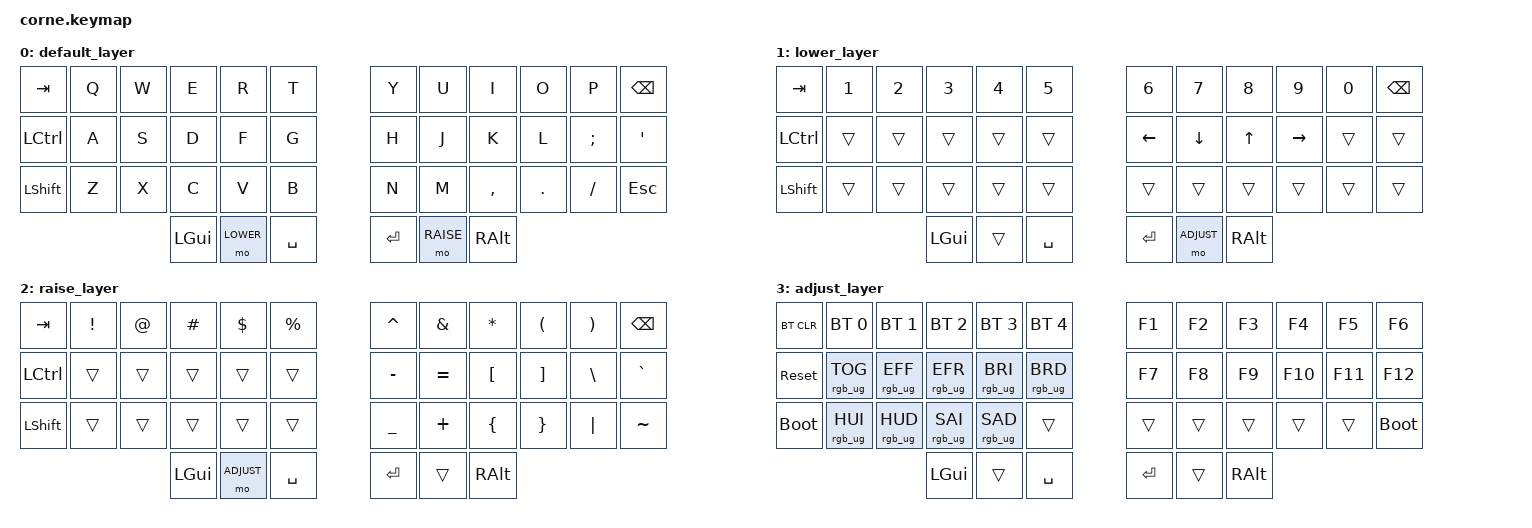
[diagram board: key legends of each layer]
// Copyright (c) 2024 The ZMK Contributors
// SPDX-License-Identifier: MIT

#include <behaviors.dtsi>
#include <dt-bindings/zmk/keys.h>
#include <dt-bindings/zmk/bt.h>
#include <dt-bindings/zmk/rgb.h>

#define DEFAULT 0
#define LOWER   1
#define RAISE   2
#define ADJUST  3

/ {
    conditional_layers {
        compatible = "zmk,conditional-layers";
        tri_layer {
            if-layers = <LOWER RAISE>;
            then-layer = <ADJUST>;
        };
    };

    keymap {
        compatible = "zmk,keymap";

        default_layer {
            bindings = <
//  ╭──────────┬──────────┬──────────┬──────────┬──────────┬──────────╮   ╭──────────┬──────────┬──────────┬──────────┬──────────┬──────────╮
    &kp TAB      &kp Q      &kp W      &kp E      &kp R      &kp T          &kp Y      &kp U      &kp I      &kp O      &kp P     &kp BSPC
//  ├──────────┼──────────┼──────────┼──────────┼──────────┼──────────┤   ├──────────┼──────────┼──────────┼──────────┼──────────┼──────────┤
    &kp LCTRL    &kp A      &kp S      &kp D      &kp F      &kp G          &kp H      &kp J      &kp K      &kp L     &kp SEMI   &kp SQT
//  ├──────────┼──────────┼──────────┼──────────┼──────────┼──────────┤   ├──────────┼──────────┼──────────┼──────────┼──────────┼──────────┤
    &kp LSHFT    &kp Z      &kp X      &kp C      &kp V      &kp B          &kp N      &kp M    &kp COMMA   &kp DOT    &kp FSLH   &kp ESC
//  ╰──────────┴──────────┴──────────┼──────────┼──────────┼──────────┤   ├──────────┼──────────┼──────────┼──────────┴──────────┴──────────╯
                                       &kp LGUI   &mo LOWER  &kp SPACE      &kp RET    &mo RAISE  &kp RALT
//                                   ╰──────────┴──────────┴──────────╯   ╰──────────┴──────────┴──────────╯
            >;
        };

        lower_layer {
            bindings = <
//  ╭──────────┬──────────┬──────────┬──────────┬──────────┬──────────╮   ╭──────────┬──────────┬──────────┬──────────┬──────────┬──────────╮
    &kp TAB     &kp N1     &kp N2     &kp N3     &kp N4     &kp N5         &kp N6     &kp N7     &kp N8     &kp N9     &kp N0    &kp BSPC
//  ├──────────┼──────────┼──────────┼──────────┼──────────┼──────────┤   ├──────────┼──────────┼──────────┼──────────┼──────────┼──────────┤
    &kp LCTRL   &trans     &trans     &trans     &trans     &trans         &kp LEFT   &kp DOWN   &kp UP    &kp RIGHT   &trans     &trans
//  ├──────────┼──────────┼──────────┼──────────┼──────────┼──────────┤   ├──────────┼──────────┼──────────┼──────────┼──────────┼──────────┤
    &kp LSHFT   &trans     &trans     &trans     &trans     &trans         &trans     &trans     &trans     &trans     &trans     &trans
//  ╰──────────┴──────────┴──────────┼──────────┼──────────┼──────────┤   ├──────────┼──────────┼──────────┼──────────┴──────────┴──────────╯
                                      &kp LGUI   &trans    &kp SPACE       &kp RET    &mo ADJUST &kp RALT
//                                   ╰──────────┴──────────┴──────────╯   ╰──────────┴──────────┴──────────╯
            >;
        };

        raise_layer {
            bindings = <
//  ╭──────────┬──────────┬──────────┬──────────┬──────────┬──────────╮   ╭──────────┬──────────┬──────────┬──────────┬──────────┬──────────╮
    &kp  TAB    &kp EXCL   &kp AT     &kp HASH   &kp DLLR   &kp PRCNT      &kp CARET  &kp AMPS  &kp ASTRK  &kp LPAR   &kp RPAR   &kp BSPC
//  ├──────────┼──────────┼──────────┼──────────┼──────────┼──────────┤   ├──────────┼──────────┼──────────┼──────────┼──────────┼──────────┤
    &kp LCTRL   &trans     &trans     &trans     &trans     &trans         &kp MINUS  &kp EQUAL  &kp LBKT  &kp RBKT  &kp BSLH   &kp GRAVE
//  ├──────────┼──────────┼──────────┼──────────┼──────────┼──────────┤   ├──────────┼──────────┼──────────┼──────────┼──────────┼──────────┤
    &kp LSHFT   &trans     &trans     &trans     &trans     &trans         &kp UNDER  &kp PLUS  &kp LBRC   &kp RBRC   &kp PIPE   &kp TILDE
//  ╰──────────┴──────────┴──────────┼──────────┼──────────┼──────────┤   ├──────────┼──────────┼──────────┼──────────┴──────────┴──────────╯
                                      &kp LGUI   &mo ADJUST &kp SPACE      &kp RET    &trans     &kp RALT
//                                   ╰──────────┴──────────┴──────────╯   ╰──────────┴──────────┴──────────╯
            >;
        };

        adjust_layer {
            bindings = <
//  ╭──────────┬──────────┬──────────┬──────────┬──────────┬──────────╮   ╭──────────┬──────────┬──────────┬──────────┬──────────┬──────────╮
    &bt BT_CLR  &bt BT_SEL 0 &bt BT_SEL 1 &bt BT_SEL 2 &bt BT_SEL 3 &bt BT_SEL 4 &kp F1   &kp F2     &kp F3     &kp F4     &kp F5    &kp F6
//  ├──────────┼──────────┼──────────┼──────────┼──────────┼──────────┤   ├──────────┼──────────┼──────────┼──────────┼──────────┼──────────┤
    &sys_reset  &rgb_ug RGB_TOG &rgb_ug RGB_EFF &rgb_ug RGB_EFR &rgb_ug RGB_BRI &rgb_ug RGB_BRD  &kp F7  &kp F8 &kp F9 &kp F10 &kp F11 &kp F12
//  ├──────────┼──────────┼──────────┼──────────┼──────────┼──────────┤   ├──────────┼──────────┼──────────┼──────────┼──────────┼──────────┤
   &bootloader  &rgb_ug RGB_HUI &rgb_ug RGB_HUD &rgb_ug RGB_SAI &rgb_ug RGB_SAD &trans       &trans  &trans  &trans  &trans  &trans  &bootloader
//  ╰──────────┴──────────┴──────────┼──────────┼──────────┼──────────┤   ├──────────┼──────────┼──────────┼──────────┴──────────┴──────────╯
                                      &kp LGUI   &trans     &kp SPACE      &kp RET    &trans     &kp RALT
//                                   ╰──────────┴──────────┴──────────╯   ╰──────────┴──────────┴──────────╯
            >;
        };
    };
};
